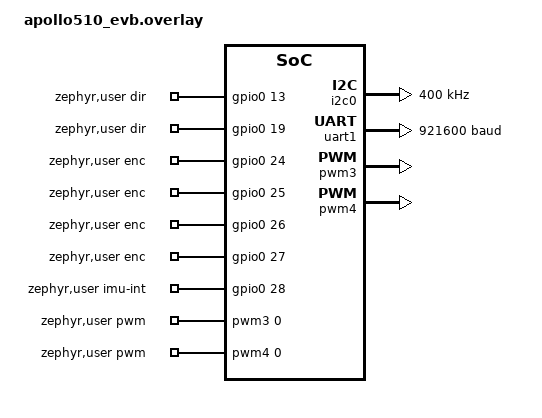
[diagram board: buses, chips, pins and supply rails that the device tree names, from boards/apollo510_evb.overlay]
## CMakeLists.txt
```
# SPDX-License-Identifier: Apache-2.0
cmake_minimum_required(VERSION 3.20.0)
find_package(Zephyr REQUIRED HINTS $ENV{ZEPHYR_BASE})
project(arb_diff_drive)

target_sources(app PRIVATE src/main.c)
target_link_libraries(app PRIVATE m)
```

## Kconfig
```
# SPDX-License-Identifier: Apache-2.0
mainmenu "ARB diff-drive sample"

config ARB_STAMP_AT_ISR
	bool "Timestamp sensor data at interrupt time"
	default y
	help
	  Capture arb_time_now_us() in the IMU data-ready GPIO callback and
	  in the encoder edge ISRs, so message stamps carry acquisition
	  time instead of processing time. When disabled, the sample falls
	  back to thread-timed polling and control-rate stamps (the
	  pre-ISR-stamping behavior), which is useful for measuring the
	  difference with the e2e benchmark.

source "Kconfig.zephyr"
```

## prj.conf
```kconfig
# SPDX-License-Identifier: Apache-2.0
CONFIG_ARB=y
CONFIG_ARB_TRANSPORT=y

CONFIG_GPIO=y
CONFIG_PWM=y
CONFIG_I2C=y
CONFIG_SERIAL=y
CONFIG_UART_INTERRUPT_DRIVEN=y

CONFIG_LOG=y
CONFIG_FPU=y
CONFIG_CBPRINTF_FP_SUPPORT=y
CONFIG_MAIN_STACK_SIZE=4096
CONFIG_SYSTEM_WORKQUEUE_STACK_SIZE=2048
```

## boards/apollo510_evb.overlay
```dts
/*
 * ARB diff-drive sample - Apollo510 EVB overlay
 *
 * Pin map (functions per dts/apollo510/ambiq-apollo510-pinmux.h):
 *   Motor L: PWM P12 (CT12), DIR P13 (GPIO)
 *   Motor R: PWM P18 (CT18), DIR P19 (GPIO)
 *   Encoder L: A P24, B P25 (GPIO, both-edge IRQ)
 *   Encoder R: A P26, B P27
 *   IMU (ICM-42688-P): SCL P5 (M0SCL), SDA P6 (M0SDAWIR3) - IOM0 I2C
 *   ARB link: UART1 TX P41, RX P43, 921600 8N1
 *
 * PWM outputs use TIMER3/TIMER4 (TIMER2's pwm is claimed by the board dts
 * as pwm2, TIMER0's counter is used by the ARB benchmarks). The CT12/CT18
 * pad-to-timer-output routing follows the same mechanism the board uses
 * for pwm2/CT165 but has not been validated on hardware yet.
 *
 * SPDX-License-Identifier: Apache-2.0
 * Copyright (c) 2026 Ambiq Micro Inc. <www.ambiq.com>
 */

#include <zephyr/dt-bindings/pwm/pwm.h>

/ {
	chosen {
		arb,uart = &uart1;
	};

	zephyr,user {
		/* index 0 = left, 1 = right */
		pwms = <&pwm3 0 PWM_HZ(20000) PWM_POLARITY_NORMAL>,
		       <&pwm4 0 PWM_HZ(20000) PWM_POLARITY_NORMAL>;
		dir-gpios = <&gpio0 13 GPIO_ACTIVE_HIGH>,
			    <&gpio0 19 GPIO_ACTIVE_HIGH>;
		/* left A, left B, right A, right B */
		enc-gpios = <&gpio0 24 GPIO_ACTIVE_HIGH>,
			    <&gpio0 25 GPIO_ACTIVE_HIGH>,
			    <&gpio0 26 GPIO_ACTIVE_HIGH>,
			    <&gpio0 27 GPIO_ACTIVE_HIGH>;
		/* ICM-42688 INT1 -> P28 (verify wiring on the EVB rig) */
		imu-int-gpios = <&gpio0 28 GPIO_ACTIVE_HIGH>;
	};
};

&i2c0 {
	status = "okay";
	clock-frequency = <I2C_BITRATE_FAST>;
	pinctrl-0 = <&i2c0_default>;
	pinctrl-names = "default";
};

&uart1 {
	status = "okay";
	current-speed = <921600>;
	pinctrl-0 = <&uart1_default>;
	pinctrl-names = "default";
};

&timer3 {
	pwm3: pwm {
		status = "okay";
		pinctrl-0 = <&pwm3_default>;
		pinctrl-names = "default";
	};
};

&timer4 {
	pwm4: pwm {
		status = "okay";
		pinctrl-0 = <&pwm4_default>;
		pinctrl-names = "default";
	};
};

&pinctrl {
	i2c0_default: i2c0_default {
		group1 {
			pinmux = <M0SCL_P5>, <M0SDAWIR3_P6>;
			drive-open-drain;
			bias-pull-up;
		};
	};

	uart1_default: uart1_default {
		group1 {
			pinmux = <UART1TX_P41>;
		};
		group2 {
			pinmux = <UART1RX_P43>;
			input-enable;
		};
	};

	pwm3_default: pwm3_default {
		group1 {
			pinmux = <CT12_P12>;
		};
	};

	pwm4_default: pwm4_default {
		group1 {
			pinmux = <CT18_P18>;
		};
	};
};
```

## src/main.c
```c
/*
 * ARB sample - closed-loop differential-drive base (Apollo510 EVB).
 *
 * Zephyr-native throughout: PWM/GPIO/I2C device APIs for the hardware, zbus
 * for all messaging, ARB for the vocabulary, node lifecycle / e-stop, PID and
 * kinematics.
 *
 * Dataflow:
 *   cmd_vel (zbus, local or via transport) -> PID per wheel -> PWM
 *   encoders (GPIO IRQ quadrature)  -> arb_chan_encoder @ 50 Hz
 *   ICM-42688 (I2C)                 -> arb_chan_imu     @ 200 Hz
 *   wheel odometry                  -> arb_chan_odom    @ 50 Hz
 *   arb_chan_estop                  -> motors brake
 *
 * Hardware (see boards/apollo510_evb.overlay):
 *   motors:   PWM P12/P18 (CT12/CT18), DIR P13/P19 -> DRV8833/TB6612
 *   encoders: P24/P25 (left A/B), P26/P27 (right A/B), x4 decode
 *   IMU:      ICM-42688-P on IOM0 I2C (SCL P5, SDA P6), addr 0x68
 *   link:     UART1 (TX P41, RX P43) via chosen "arb,uart"
 *
 * SPDX-License-Identifier: Apache-2.0
 * Copyright (c) 2026 Ambiq Micro Inc. <www.ambiq.com>
 */
#include <math.h>

#include <zephyr/kernel.h>
#include <zephyr/device.h>
#include <zephyr/devicetree.h>
#include <zephyr/drivers/pwm.h>
#include <zephyr/drivers/gpio.h>
#include <zephyr/drivers/i2c.h>
#include <zephyr/logging/log.h>
#include <zephyr/sys/atomic.h>
#include <zephyr/zbus/zbus.h>

#include "arb/topics.h"
#include "arb/node.h"
#include "arb/time.h"
#include "arb/transport.h"
#include "arb/control/pid.h"
#include "arb/control/diff_drive.h"

LOG_MODULE_REGISTER(diff_drive, LOG_LEVEL_INF);

#define ZUSER DT_PATH(zephyr_user)

/* ---- hardware ----------------------------------------------------------- */

static const struct pwm_dt_spec motor_pwm[2] = {
	PWM_DT_SPEC_GET_BY_IDX(ZUSER, 0),
	PWM_DT_SPEC_GET_BY_IDX(ZUSER, 1),
};
static const struct gpio_dt_spec motor_dir[2] = {
	GPIO_DT_SPEC_GET_BY_IDX(ZUSER, dir_gpios, 0),
	GPIO_DT_SPEC_GET_BY_IDX(ZUSER, dir_gpios, 1),
};
/* enc-gpios: left A, left B, right A, right B */
static const struct gpio_dt_spec enc_gpio[4] = {
	GPIO_DT_SPEC_GET_BY_IDX(ZUSER, enc_gpios, 0),
	GPIO_DT_SPEC_GET_BY_IDX(ZUSER, enc_gpios, 1),
	GPIO_DT_SPEC_GET_BY_IDX(ZUSER, enc_gpios, 2),
	GPIO_DT_SPEC_GET_BY_IDX(ZUSER, enc_gpios, 3),
};

static const struct device *const i2c_dev =
	DEVICE_DT_GET(DT_NODELABEL(i2c0));
#define IMU_ADDR 0x68

/* robot geometry / limits */
#define WHEEL_BASE_M    0.30f
#define WHEEL_RADIUS_M  0.04f
#define ENC_CPR         360u          /* lines; x4 decode -> 1440 counts/rev */
#define MAX_WHEEL_RADPS 25.0f

/* ---- encoders (x4 quadrature in GPIO ISR) ------------------------------- */

static const int8_t quad[4][4] = {
	{  0, +1, -1,  0 },
	{ -1,  0,  0, +1 },
	{ +1,  0,  0, -1 },
	{  0, -1, +1,  0 },
};

struct enc {
	struct gpio_callback cb;
	volatile int32_t     count;
	uint8_t              prev;
	uint8_t              base; /* index of channel A in enc_gpio[] */
	int32_t              last_count;
	int64_t              last_ms;
	float                vel_radps;
};
static struct enc enc[2] = { { .base = 0 }, { .base = 2 } };

static void enc_isr(const struct device *dev, struct gpio_callback *cb,
		    uint32_t pins)
{
	ARG_UNUSED(dev); ARG_UNUSED(pins);
	struct enc *e = CONTAINER_OF(cb, struct enc, cb);
	uint8_t a = (uint8_t)gpio_pin_get_dt(&enc_gpio[e->base]);
	uint8_t b = (uint8_t)gpio_pin_get_dt(&enc_gpio[e->base + 1]);
	uint8_t st = (uint8_t)((a << 1) | b);

	e->count += quad[e->prev][st];
	e->prev = st;
}

static float enc_velocity(struct enc *e)
{
	int64_t now = k_uptime_get();
	int64_t dt  = now - e->last_ms;

	if (dt <= 0) {
		return e->vel_radps;
	}
	int32_t c  = e->count;
	int32_t dc = c - e->last_count;

	e->last_count = c;
	e->last_ms    = now;
	e->vel_radps  = ((float)dc / (float)(ENC_CPR * 4)) * 2.0f *
			3.14159265f * 1000.0f / (float)dt;
	return e->vel_radps;
}

/* ---- motors ------------------------------------------------------------- */

static void motor_out(int m, float duty) /* duty -1..1 */
{
	duty = CLAMP(duty, -1.0f, 1.0f);
	gpio_pin_set_dt(&motor_dir[m], duty < 0.0f);
	float mag = duty < 0.0f ? -duty : duty;

	pwm_set_pulse_dt(&motor_pwm[m],
			 (uint32_t)(mag * (float)motor_pwm[m].period));
}

static void motors_brake(void)
{
	motor_out(0, 0.0f);
	motor_out(1, 0.0f);
}

/* ---- control state ------------------------------------------------------ */

static const arb_diffdrive_t geom = {
	.wheel_base   = WHEEL_BASE_M,
	.wheel_radius = WHEEL_RADIUS_M,
};
static arb_pid_t pid_l, pid_r;
static float sp_wl, sp_wr;        /* wheel setpoints, rad/s */
static bool  drive_enabled;
static struct { float x, y, th; } odom_pose;
/* shared by the control workqueue and the IMU thread */
static atomic_t seq;
static arb_node_t *drive_node;

/* ---- zbus observers ----------------------------------------------------- */

static void cmd_vel_cb(const struct zbus_channel *chan)
{
	const arb_twist_t *t = zbus_chan_const_msg(chan);

	arb_diffdrive_twist_to_wheels(&geom, t->linear.x, t->angular.z,
				      &sp_wl, &sp_wr);
	sp_wl = CLAMP(sp_wl, -MAX_WHEEL_RADPS, MAX_WHEEL_RADPS);
	sp_wr = CLAMP(sp_wr, -MAX_WHEEL_RADPS, MAX_WHEEL_RADPS);
}
ZBUS_LISTENER_DEFINE(cmd_vel_listener, cmd_vel_cb);
ZBUS_CHAN_ADD_OBS(arb_chan_cmd_vel, cmd_vel_listener, 3);

static void estop_cb(const struct zbus_channel *chan)
{
	ARG_UNUSED(chan);
	drive_enabled = false;
	sp_wl = sp_wr = 0.0f;
	motors_brake();
}
ZBUS_LISTENER_DEFINE(estop_listener, estop_cb);
ZBUS_CHAN_ADD_OBS(arb_chan_estop, estop_listener, 3);

/* ---- node lifecycle ----------------------------------------------------- */

static int drive_activate(void *ctx)
{
	ARG_UNUSED(ctx);
	arb_pid_reset(&pid_l);
	arb_pid_reset(&pid_r);
	sp_wl = sp_wr = 0.0f;
	drive_enabled = true;
	return ARB_OK;
}

static int drive_stop(void *ctx)
{
	ARG_UNUSED(ctx);
	drive_enabled = false;
	motors_brake();
	return ARB_OK;
}

static const arb_node_ops_t drive_ops = {
	.on_activate   = drive_activate,
	.on_deactivate = drive_stop,
	.on_shutdown   = drive_stop,
};

/* ---- 100 Hz control loop + 50 Hz telemetry ------------------------------ */

#define CTRL_PERIOD_MS 10

static void control_fn(struct k_work *work);
static K_WORK_DELAYABLE_DEFINE(control_work, control_fn);

static void control_fn(struct k_work *work)
{
	ARG_UNUSED(work);
	static unsigned int tick;
	const float dt = CTRL_PERIOD_MS / 1000.0f;

	float wl = enc_velocity(&enc[0]);
	float wr = enc_velocity(&enc[1]);

	if (drive_enabled) {
		motor_out(0, arb_pid_update(&pid_l, sp_wl, wl, dt));
		motor_out(1, arb_pid_update(&pid_r, sp_wr, wr, dt));
	}

	/* integrate planar odometry */
	float v, w;

	arb_diffdrive_wheels_to_twist(&geom, wl, wr, &v, &w);
	odom_pose.th += w * dt;
	odom_pose.x  += v * dt * cosf(odom_pose.th);
	odom_pose.y  += v * dt * sinf(odom_pose.th);

	if ((++tick % 2) == 0) { /* 50 Hz */
		arb_encoder_msg_t em = { 0 };

		for (int i = 0; i < 2; i++) {
			arb_header_init(&em.header, ARB_MSG_ENCODER,
					drive_node->id, arb_time_now_us(),
					(uint32_t)atomic_inc(&seq));
			em.encoder_id     = (uint8_t)i;
			em.count          = enc[i].count;
			em.position_rad   = (float)enc[i].count * 2.0f *
					    3.14159265f / (ENC_CPR * 4);
			em.velocity_rad_s = i ? wr : wl;
			(void)zbus_chan_pub(&arb_chan_encoder, &em, K_NO_WAIT);
		}

		arb_odom_t od = { 0 };

		arb_header_init(&od.header, ARB_MSG_ODOM, drive_node->id,
				arb_time_now_us(), (uint32_t)atomic_inc(&seq));
		od.pose.x      = odom_pose.x;
		od.pose.y      = odom_pose.y;
		od.pose.theta  = odom_pose.th;
		od.linear_vel  = v;
		od.angular_vel = w;
		(void)zbus_chan_pub(&arb_chan_odom, &od, K_NO_WAIT);
	}

	k_work_schedule(&control_work, K_MSEC(CTRL_PERIOD_MS));
}

/* ---- ICM-42688 over Zephyr I2C ------------------------------------------ */

#define ICM_WHO_AM_I      0x75
#define ICM_WHO_AM_I_VAL  0x47
#define ICM_PWR_MGMT0     0x4E
#define ICM_GYRO_CONFIG0  0x4F
#define ICM_ACCEL_CONFIG0 0x50
#define ICM_TEMP_DATA1    0x1D

#define ACCEL_SCALE (9.80665f / 4096.0f)   /* +/-8g          */
#define GYRO_SCALE  (0.0174533f / 32.8f)   /* +/-1000 dps    */

static int imu_init(void)
{
	uint8_t who = 0;

	if (i2c_reg_read_byte(i2c_dev, IMU_ADDR, ICM_WHO_AM_I, &who) ||
	    who != ICM_WHO_AM_I_VAL) {
		LOG_ERR("ICM-42688 WHO_AM_I 0x%02x", who);
		return -ENODEV;
	}
	/* +/-8g, +/-1000dps, 200 Hz ODR; accel+gyro low-noise */
	i2c_reg_write_byte(i2c_dev, IMU_ADDR, ICM_ACCEL_CONFIG0, 0x47);
	i2c_reg_write_byte(i2c_dev, IMU_ADDR, ICM_GYRO_CONFIG0,  0x47);
	i2c_reg_write_byte(i2c_dev, IMU_ADDR, ICM_PWR_MGMT0,     0x0F);
	k_msleep(50);
	return 0;
}

static void imu_thread(void *a, void *b, void *c)
{
	ARG_UNUSED(a); ARG_UNUSED(b); ARG_UNUSED(c);

	if (imu_init() != 0) {
		return;
	}

	while (1) {
		uint8_t raw[14];

		if (i2c_burst_read(i2c_dev, IMU_ADDR, ICM_TEMP_DATA1, raw,
				   sizeof(raw)) == 0) {
			arb_imu_t m = { 0 };
			int16_t t  = (int16_t)((raw[0] << 8) | raw[1]);
			int16_t ax = (int16_t)((raw[2] << 8) | raw[3]);
			int16_t ay = (int16_t)((raw[4] << 8) | raw[5]);
			int16_t az = (int16_t)((raw[6] << 8) | raw[7]);
			int16_t gx = (int16_t)((raw[8] << 8) | raw[9]);
			int16_t gy = (int16_t)((raw[10] << 8) | raw[11]);
			int16_t gz = (int16_t)((raw[12] << 8) | raw[13]);

			arb_header_init(&m.header, ARB_MSG_IMU, 0,
					arb_time_now_us(),
					(uint32_t)atomic_inc(&seq));
			m.accel.x = ax * ACCEL_SCALE;
			m.accel.y = ay * ACCEL_SCALE;
			m.accel.z = az * ACCEL_SCALE;
			m.gyro.x  = gx * GYRO_SCALE;
			m.gyro.y  = gy * GYRO_SCALE;
			m.gyro.z  = gz * GYRO_SCALE;
			m.temperature = t / 132.48f + 25.0f;

			(void)zbus_chan_pub(&arb_chan_imu, &m, K_NO_WAIT);
		}
		k_msleep(5); /* 200 Hz */
	}
}
K_THREAD_DEFINE(imu_tid, 2048, imu_thread, NULL, NULL, NULL, 6, 0, 200);

/* ---- main --------------------------------------------------------------- */

int main(void)
{
	LOG_INF("ARB diff-drive sample (zbus)");

	for (int i = 0; i < 2; i++) {
		if (!pwm_is_ready_dt(&motor_pwm[i]) ||
		    !gpio_is_ready_dt(&motor_dir[i])) {
			LOG_ERR("motor %d hw not ready", i);
			return -ENODEV;
		}
		gpio_pin_configure_dt(&motor_dir[i], GPIO_OUTPUT_INACTIVE);
		motor_out(i, 0.0f);
	}

	for (int i = 0; i < 4; i++) {
		gpio_pin_configure_dt(&enc_gpio[i], GPIO_INPUT);
	}
	for (int e = 0; e < 2; e++) {
		uint8_t a = (uint8_t)gpio_pin_get_dt(&enc_gpio[enc[e].base]);
		uint8_t b =
			(uint8_t)gpio_pin_get_dt(&enc_gpio[enc[e].base + 1]);

		enc[e].prev    = (uint8_t)((a << 1) | b);
		enc[e].last_ms = k_uptime_get();
		gpio_init_callback(&enc[e].cb, enc_isr,
				   BIT(enc_gpio[enc[e].base].pin) |
				   BIT(enc_gpio[enc[e].base + 1].pin));
		gpio_add_callback(enc_gpio[enc[e].base].port, &enc[e].cb);
		gpio_pin_interrupt_configure_dt(&enc_gpio[enc[e].base],
						GPIO_INT_EDGE_BOTH);
		gpio_pin_interrupt_configure_dt(&enc_gpio[enc[e].base + 1],
						GPIO_INT_EDGE_BOTH);
	}

	arb_pid_init(&pid_l, 0.06f, 0.9f, 0.0f, -1.0f, 1.0f);
	arb_pid_init(&pid_r, 0.06f, 0.9f, 0.0f, -1.0f, 1.0f);

	drive_node = arb_node_create("diff_drive", &drive_ops, NULL);
	arb_node_set_heartbeat(drive_node, 500);
	arb_node_configure(drive_node);
	arb_node_activate(drive_node);

	IF_ENABLED(CONFIG_ARB_TRANSPORT, (
		arb_transport_export(&arb_chan_odom);
		arb_transport_export(&arb_chan_imu);
		arb_transport_export(&arb_chan_encoder);
		arb_transport_export(&arb_chan_heartbeat);
		arb_transport_export(&arb_chan_estop);
	))

	k_work_schedule(&control_work, K_MSEC(CTRL_PERIOD_MS));
	return 0;
}
```
